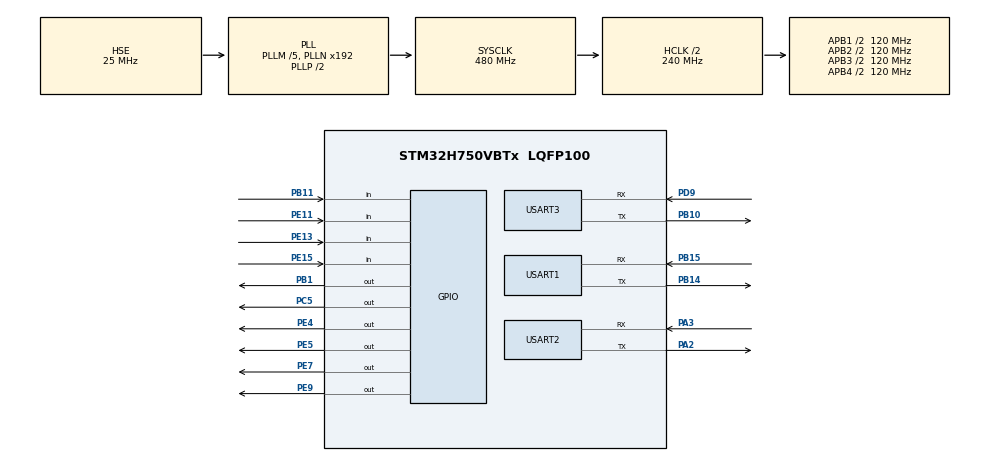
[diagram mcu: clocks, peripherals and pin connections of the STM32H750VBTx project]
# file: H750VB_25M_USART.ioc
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Mcu.Family=STM32H7
PE15.GPIO_Mode=GPIO_MODE_INPUT
PE7.GPIO_PuPd=GPIO_PULLUP
PE4.GPIO_ModeDefaultOutputPP=GPIO_MODE_OUTPUT_PP
RCC.CortexFreq_Value=480000000
PB10.Mode=Asynchronous
RCC.HPRE=RCC_HCLK_DIV2
PH0-OSC_IN\ (PH0).Signal=RCC_OSC_IN
PC15-OSC32_OUT\ (OSC32_OUT).Mode=LSE-External-Oscillator
RCC.PLLFRACN=0
PE9.GPIO_Speed=GPIO_SPEED_FREQ_VERY_HIGH
PB11.GPIO_PuPd=GPIO_PULLDOWN
PB11.Signal=GPIO_Input
PB15.Signal=USART1_RX
PD9.Mode=Asynchronous
RCC.SYSCLKSource=RCC_SYSCLKSOURCE_PLLCLK
ProjectManager.StackSize=0x400
USART3.VirtualMode-Asynchronous=VM_ASYNC
PE13.GPIO_Mode=GPIO_MODE_INPUT
PA14\ (JTCK/SWCLK).Signal=DEBUG_JTCK-SWCLK
PE5.GPIO_PuPd=GPIO_PULLUP
PE11.GPIO_PuPd=GPIO_PULLDOWN
PB1.GPIO_PuPd=GPIO_PULLUP
RCC.HCLKFreq_Value=240000000
PE5.Signal=GPIO_Output
PH1-OSC_OUT\ (PH1).Mode=HSE-External-Oscillator
USART2.VirtualMode-Asynchronous=VM_ASYNC
RCC.DIVM1=5
PE13.GPIO_PuPd=GPIO_PULLDOWN
PE13.Signal=GPIO_Input
PB1.GPIO_Speed=GPIO_SPEED_FREQ_VERY_HIGH
PE9.Signal=GPIO_Output
PE4.GPIO_Speed=GPIO_SPEED_FREQ_VERY_HIGH
PB14.Mode=Asynchronous
PE5.PinState=GPIO_PIN_SET
PA14\ (JTCK/SWCLK).Mode=Serial_Wire
PE4.Signal=GPIO_Output
RCC.APB3Freq_Value=120000000
PB1.PinState=GPIO_PIN_SET
Mcu.Package=LQFP100
PB1.Signal=GPIO_Output
RCC.D1PPRE=RCC_APB3_DIV2
PC14-OSC32_IN\ (OSC32_IN).Mode=LSE-External-Oscillator
RCC.APB4Freq_Value=120000000
PC5.Signal=GPIO_Output
PE7.Signal=GPIO_Output
PB11.GPIO_Mode=GPIO_MODE_INPUT
NVIC.USART1_IRQn=true\:0\:0\:false\:false\:true\:true\:true
PE9.PinState=GPIO_PIN_SET
PH0-OSC_IN\ (PH0).Mode=HSE-External-Oscillator
PA3.Signal=USART2_RX
RCC.PLLSourceVirtual=RCC_PLLSOURCE_HSE
PA13\ (JTMS/SWDIO).Mode=Serial_Wire
RCC.D2PPRE2=RCC_APB2_DIV2
RCC.D2PPRE1=RCC_APB1_DIV2
PE7.PinState=GPIO_PIN_SET
PD9.Signal=USART3_RX
PC5.GPIO_PuPd=GPIO_PULLUP
PH1-OSC_OUT\ (PH1).Signal=RCC_OSC_OUT
USART1.VirtualMode-Asynchronous=VM_ASYNC
PA3.Mode=Asynchronous
ProjectManager.TargetToolchain=MDK-ARM V5.27
PC15-OSC32_OUT\ (OSC32_OUT).Signal=RCC_OSC32_OUT
RCC.DIVN1=192
RCC.USBFreq_Value=480000000
PE11.Signal=GPIO_Input
PB10.Signal=USART3_TX
PB14.Signal=USART1_TX
board=custom
PB15.Mode=Asynchronous
PE7.GPIO_Speed=GPIO_SPEED_FREQ_VERY_HIGH
RCC.APB2Freq_Value=120000000
PE15.Signal=GPIO_Input
RCC.ADCFreq_Value=50390625
PE11.GPIO_Mode=GPIO_MODE_INPUT
Mcu.Name=STM32H750VBTx
PA2.Signal=USART2_TX
PE4.GPIO_PuPd=GPIO_PULLUP
RCC.SYSCLKFreq_VALUE=480000000
PC5.PinState=GPIO_PIN_SET
PC14-OSC32_IN\ (OSC32_IN).Signal=RCC_OSC32_IN
PE15.GPIO_PuPd=GPIO_PULLDOWN
ProjectManager.HeapSize=0x200
PE5.GPIO_ModeDefaultOutputPP=GPIO_MODE_OUTPUT_PP
NVIC.PriorityGroup=NVIC_PRIORITYGROUP_4
PC5.GPIO_Speed=GPIO_SPEED_FREQ_VERY_HIGH
PE5.GPIO_Speed=GPIO_SPEED_FREQ_VERY_HIGH
PA2.Mode=Asynchronous
PE4.PinState=GPIO_PIN_SET
RCC.D3PPRE=RCC_APB4_DIV2
PE7.GPIO_ModeDefaultOutputPP=GPIO_MODE_OUTPUT_PP
PE9.GPIO_ModeDefaultOutputPP=GPIO_MODE_OUTPUT_PP
PB1.GPIO_ModeDefaultOutputPP=GPIO_MODE_OUTPUT_PP
RCC.APB1Freq_Value=120000000
PC5.GPIO_ModeDefaultOutputPP=GPIO_MODE_OUTPUT_PP
PA13\ (JTMS/SWDIO).Signal=DEBUG_JTMS-SWDIO
PE9.GPIO_PuPd=GPIO_PULLUP

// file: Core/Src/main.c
/* USER CODE BEGIN Header */
/**
  ******************************************************************************
  * @file           : main.c
  * @brief          : Main program body
  ******************************************************************************
  * @attention
  *
  * <h2><center>&copy; Copyright (c) 2020 STMicroelectronics.
  * All rights reserved.</center></h2>
  *
  * This software component is licensed by ST under BSD 3-Clause license,
  * the "License"; You may not use this file except in compliance with the
  * License. You may obtain a copy of the License at:
  *                        opensource.org/licenses/BSD-3-Clause
  *
  ******************************************************************************
  */
/* USER CODE END Header */
#include "main.h"
#include "usart.h"
#include "gpio.h"

/* USER CODE BEGIN Includes */
#include "DELAY/delay.h"
#include "USART/myusart1.h"
#include "GRIDKEY/gridkey.h"
#include "OLED/oled_iic.h"
/* USER CODE END Includes */

/* USER CODE BEGIN PV */
uint8_t buffer[512];
/* USER CODE END PV */

void SystemClock_Config(void);

int main(void)
{
  /* USER CODE BEGIN 1 */
    uint32_t receivedLen=0;
    uint8_t displayPos=0;
  /* USER CODE END 1 */

  /* MCU Configuration--------------------------------------------------------*/

  /* Reset of all peripherals, Initializes the Flash interface and the Systick. */
  HAL_Init();

  /* Configure the system clock */
  SystemClock_Config();

  /* Initialize all configured peripherals */
  MX_GPIO_Init();
  MX_USART1_UART_Init();
  MX_USART2_UART_Init();
  MX_USART3_UART_Init();
  /* USER CODE BEGIN 2 */
    Delay_Init(480);
    OLED_Init();
    MyUSART1_Init();
    printf("01234\r\n");
    MyUSART1_WriteChar('5');
    MyUSART1_Write("678\r\n666",5);
    MyUSART1_WriteStr("90123");
    MyUSART1_WriteLine("45678");
    MyUSART1_WriteUntil("9012345678",'5');
    MyUSART1_WriteLine("");
    MyUSART1_WriteStr("");
    Delay_ms(1000);
    OLED_ShowStr(0,0,"USART_Test",TEXTSIZE_SMALL,REVERSE_OFF);

  /* USER CODE END 2 */

  /* Infinite loop */
  while (1)
  {

    /* USER CODE BEGIN 3 */
      int key=GridKey_Scan(0);
      if(key==255)
          continue;
      OLED_ShowChar(6,displayPos,' ',TEXTSIZE_SMALL,REVERSE_OFF);
      OLED_ShowInt(0,displayPos++,key,TEXTSIZE_SMALL,REVERSE_OFF);
      displayPos%=8;
      switch(key)
      {
          case 0:
              MyUSART1_ClearBuffer();
          break;
          case 1:
              MyUSART1_WriteChar(MyUSART1_ReadChar());
          break;
          case 2:
              MyUSART1_WriteChar(MyUSART1_PeekChar());
          break;
          case 3:
              receivedLen=MyUSART1_Read(buffer,20);
              MyUSART1_Write(buffer,receivedLen);
          break;
          case 4:
              receivedLen=MyUSART1_ReadStr(buffer);
              MyUSART1_Write(buffer,receivedLen);
          break;
          case 5:
              receivedLen=MyUSART1_ReadLine(buffer);
              MyUSART1_Write(buffer,receivedLen);
          break;
          case 6:
              receivedLen=MyUSART1_ReadUntil(buffer,'>');
              MyUSART1_Write(buffer,receivedLen);
          break;
          case 7:
              receivedLen=MyUSART1_ReadAll(buffer);
              MyUSART1_Write(buffer,receivedLen);
          break;
          case 8:
              __MyUSART1_DumpAll();

      }
  }
  /* USER CODE END 3 */
}

void SystemClock_Config(void)
{
  RCC_OscInitTypeDef RCC_OscInitStruct = {0};
  RCC_ClkInitTypeDef RCC_ClkInitStruct = {0};
  RCC_PeriphCLKInitTypeDef PeriphClkInitStruct = {0};

  /** Supply configuration update enable
  */
  HAL_PWREx_ConfigSupply(PWR_LDO_SUPPLY);
  /** Configure the main internal regulator output voltage
  */
  __HAL_PWR_VOLTAGESCALING_CONFIG(PWR_REGULATOR_VOLTAGE_SCALE0);

  while(!__HAL_PWR_GET_FLAG(PWR_FLAG_VOSRDY)) {}
  /** Initializes the RCC Oscillators according to the specified parameters
  * in the RCC_OscInitTypeDef structure.
  */
  RCC_OscInitStruct.OscillatorType = RCC_OSCILLATORTYPE_HSE;
  RCC_OscInitStruct.HSEState = RCC_HSE_ON;
  RCC_OscInitStruct.PLL.PLLState = RCC_PLL_ON;
  RCC_OscInitStruct.PLL.PLLSource = RCC_PLLSOURCE_HSE;
  RCC_OscInitStruct.PLL.PLLM = 5;
  RCC_OscInitStruct.PLL.PLLN = 192;
  RCC_OscInitStruct.PLL.PLLP = 2;
  RCC_OscInitStruct.PLL.PLLQ = 2;
  RCC_OscInitStruct.PLL.PLLR = 2;
  RCC_OscInitStruct.PLL.PLLRGE = RCC_PLL1VCIRANGE_2;
  RCC_OscInitStruct.PLL.PLLVCOSEL = RCC_PLL1VCOWIDE;
  RCC_OscInitStruct.PLL.PLLFRACN = 0;
  if (HAL_RCC_OscConfig(&RCC_OscInitStruct) != HAL_OK)
  {
    Error_Handler();
  }
  /** Initializes the CPU, AHB and APB buses clocks
  */
  RCC_ClkInitStruct.ClockType = RCC_CLOCKTYPE_HCLK|RCC_CLOCKTYPE_SYSCLK
                              |RCC_CLOCKTYPE_PCLK1|RCC_CLOCKTYPE_PCLK2
                              |RCC_CLOCKTYPE_D3PCLK1|RCC_CLOCKTYPE_D1PCLK1;
  RCC_ClkInitStruct.SYSCLKSource = RCC_SYSCLKSOURCE_PLLCLK;
  RCC_ClkInitStruct.SYSCLKDivider = RCC_SYSCLK_DIV1;
  RCC_ClkInitStruct.AHBCLKDivider = RCC_HCLK_DIV2;
  RCC_ClkInitStruct.APB3CLKDivider = RCC_APB3_DIV2;
  RCC_ClkInitStruct.APB1CLKDivider = RCC_APB1_DIV2;
  RCC_ClkInitStruct.APB2CLKDivider = RCC_APB2_DIV2;
  RCC_ClkInitStruct.APB4CLKDivider = RCC_APB4_DIV2;

  if (HAL_RCC_ClockConfig(&RCC_ClkInitStruct, FLASH_LATENCY_4) != HAL_OK)
  {
    Error_Handler();
  }
  PeriphClkInitStruct.PeriphClockSelection = RCC_PERIPHCLK_USART3|RCC_PERIPHCLK_USART2
                              |RCC_PERIPHCLK_USART1;
  PeriphClkInitStruct.Usart234578ClockSelection = RCC_USART234578CLKSOURCE_D2PCLK1;
  PeriphClkInitStruct.Usart16ClockSelection = RCC_USART16CLKSOURCE_D2PCLK2;
  if (HAL_RCCEx_PeriphCLKConfig(&PeriphClkInitStruct) != HAL_OK)
  {
    Error_Handler();
  }
}

void Error_Handler(void)
{
}

/************************ (C) COPYRIGHT STMicroelectronics *****END OF FILE****/
